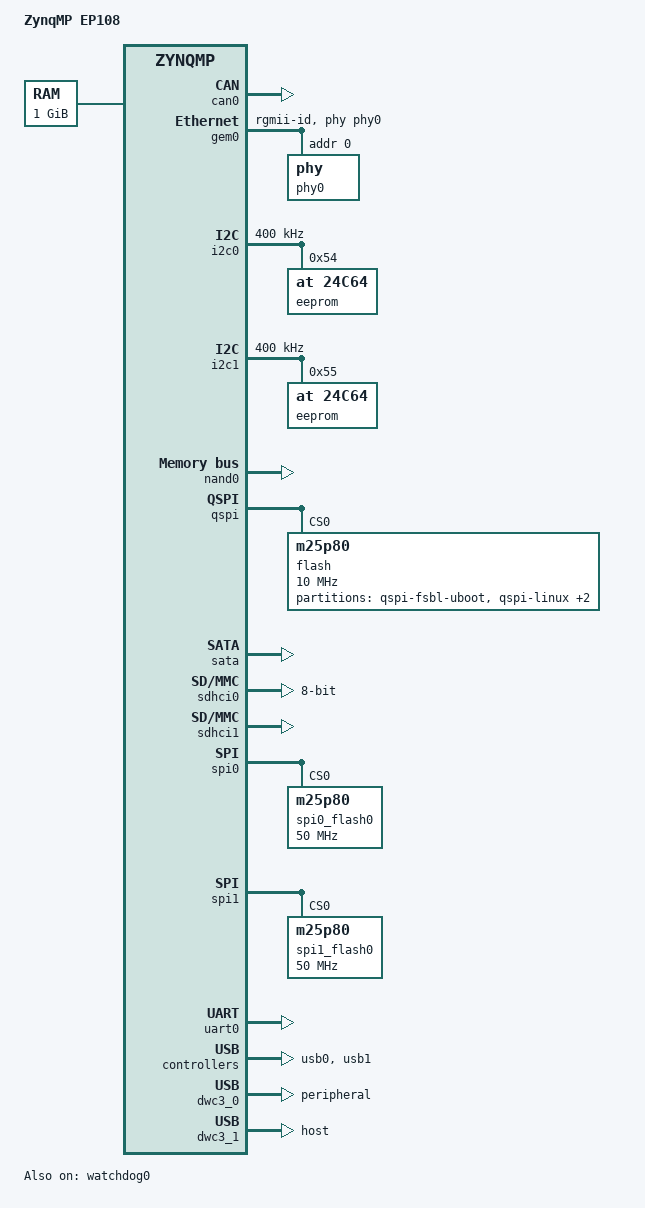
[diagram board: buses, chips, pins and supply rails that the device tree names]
/*
 * dts file for Xilinx ZynqMP ep108 development board
 *
 * (C) Copyright 2014 - 2015, Xilinx, Inc.
 *
 * Michal Simek <michal.simek@xilinx.com>
 *
 * SPDX-License-Identifier:	GPL-2.0+
 */

/dts-v1/;

#include "zynqmp.dtsi"
#include "zynqmp-ep108-clk.dtsi"

/ {
	model = "ZynqMP EP108";

	aliases {
		mmc0 = &sdhci0;
		mmc1 = &sdhci1;
		serial0 = &uart0;
		spi0 = &qspi;
		spi1 = &spi0;
		spi2 = &spi1;
		usb0 = &usb0;
		usb1 = &usb1;
	};

	chosen {
		stdout-path = "serial0:115200n8";
	};

	memory {
		device_type = "memory";
		reg = <0x0 0x0 0x0 0x40000000>;
	};
};

&can0 {
	status = "okay";
};

&gem0 {
	status = "okay";
	phy-handle = <&phy0>;
	phy-mode = "rgmii-id";
	phy0: phy@0 {
		reg = <0>;
		max-speed = <100>;
	};
};

&gpio {
	status = "okay";
};

&i2c0 {
	status = "okay";
	clock-frequency = <400000>;
	eeprom@54 {
		compatible = "at,24c64";
		reg = <0x54>;
	};
};

&i2c1 {
	status = "okay";
	clock-frequency = <400000>;
	eeprom@55 {
		compatible = "at,24c64";
		reg = <0x55>;
	};
};

&nand0 {
	status = "okay";
	arasan,has-mdma;
	num-cs = <1>;

	partition@0 {	/* for testing purpose */
		label = "nand-fsbl-uboot";
		reg = <0x0 0x0 0x400000>;
	};
	partition@1 {	/* for testing purpose */
		label = "nand-linux";
		reg = <0x0 0x400000 0x1400000>;
	};
	partition@2 {	/* for testing purpose */
		label = "nand-device-tree";
		reg = <0x0 0x1800000 0x400000>;
	};
	partition@3 {	/* for testing purpose */
		label = "nand-rootfs";
		reg = <0x0 0x1C00000 0x1400000>;
	};
	partition@4 {	/* for testing purpose */
		label = "nand-bitstream";
		reg = <0x0 0x3000000 0x400000>;
	};
	partition@5 {	/* for testing purpose */
		label = "nand-misc";
		reg = <0x0 0x3400000 0xFCC00000>;
	};
};

&qspi {
	status = "okay";
	flash@0 {
		compatible = "m25p80";
		#address-cells = <1>;
		#size-cells = <1>;
		reg = <0x0>;
		spi-tx-bus-width = <1>;
		spi-rx-bus-width = <4>;
		spi-max-frequency = <10000000>;
		partition@qspi-fsbl-uboot { /* for testing purpose */
			label = "qspi-fsbl-uboot";
			reg = <0x0 0x100000>;
		};
		partition@qspi-linux { /* for testing purpose */
			label = "qspi-linux";
			reg = <0x100000 0x500000>;
		};
		partition@qspi-device-tree { /* for testing purpose */
			label = "qspi-device-tree";
			reg = <0x600000 0x20000>;
		};
		partition@qspi-rootfs { /* for testing purpose */
			label = "qspi-rootfs";
			reg = <0x620000 0x5E0000>;
		};
	};
};

&sata {
	status = "okay";
	ceva,broken-gen2;
	/* SATA Phy OOB timing settings */
	ceva,p0-cominit-params = /bits/ 8 <0x0F 0x25 0x18 0x29>;
	ceva,p0-comwake-params = /bits/ 8 <0x04 0x0B 0x08 0x0F>;
	ceva,p0-burst-params = /bits/ 8 <0x0A 0x08 0x4A 0x06>;
	ceva,p0-retry-params = /bits/ 16 <0x0216 0x7F06>;
	ceva,p1-cominit-params = /bits/ 8 <0x0F 0x25 0x18 0x29>;
	ceva,p1-comwake-params = /bits/ 8 <0x04 0x0B 0x08 0x0F>;
	ceva,p1-burst-params = /bits/ 8 <0x0A 0x08 0x4A 0x06>;
	ceva,p1-retry-params = /bits/ 16 <0x0216 0x7F06>;
};

&sdhci0 {
	status = "okay";
	bus-width = <8>;
};

&sdhci1 {
	status = "okay";
};

&spi0 {
	status = "okay";
	num-cs = <1>;
	spi0_flash0: spi0_flash0@0 {
		compatible = "m25p80";
		#address-cells = <1>;
		#size-cells = <1>;
		spi-max-frequency = <50000000>;
		reg = <0>;

		spi0_flash0@00000000 {
			label = "spi0_flash0";
			reg = <0x0 0x100000>;
		};
	};
};

&spi1 {
	status = "okay";
	num-cs = <1>;
	spi1_flash0: spi1_flash0@0 {
		compatible = "m25p80";
		#address-cells = <1>;
		#size-cells = <1>;
		spi-max-frequency = <50000000>;
		reg = <0>;

		spi1_flash0@00000000 {
			label = "spi1_flash0";
			reg = <0x0 0x100000>;
		};
	};
};

&uart0 {
	status = "okay";
};

&usb0 {
	status = "okay";
};

&dwc3_0 {
	status = "okay";
	dr_mode = "peripheral";
	maximum-speed = "high-speed";
};

&usb1 {
	status = "okay";
};

&dwc3_1 {
	status = "okay";
	dr_mode = "host";
	maximum-speed = "high-speed";
};

&watchdog0 {
	status = "okay";
};

&xlnx_dp {
	xlnx,max-pclock-frequency = <200000>;
};

&xlnx_dpdma {
	xlnx,axi-clock-freq = <200000000>;
};
